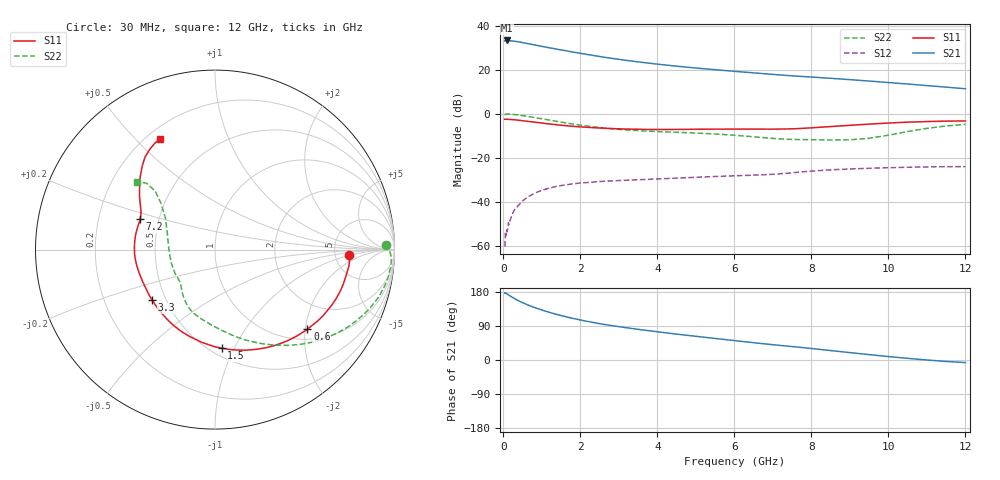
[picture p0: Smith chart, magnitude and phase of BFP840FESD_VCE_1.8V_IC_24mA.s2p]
! Infineon Technologies  Discrete & RF Semiconductors
! BFP840FESD
! VCE =  1.8 V,  IC =  24 mA
! Common Emitter S-Parameters:  May 2012
# GHz  S  MA  R  50
!  f  S11  S21  S12  S22
! GHz  MAG  ANG  MAG  ANG  MAG  ANG  MAG  ANG
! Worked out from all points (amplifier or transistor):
!   103 points, 30 MHz to 12 GHz, reference 50 ohm
!   highest |S21| = 33.2 dB at 80 MHz (marker M1)
!   |S21| within 3 dB of that: start of sweep to 1.094 GHz
!   unconditionally stable (mu >= 1): 5.679 GHz to end of sweep
!   at 400 MHz: K = 0.17, MSG = 36.9 dB, |S12| = -41.3 dB
!   at 3.7 GHz: K = 0.78, MSG = 26.4 dB, |S12| = -29.8 dB
!   at 12 GHz: K = 1.09, MAG = 15.9 dB, |S12| = -24.0 dB
!   S11 on the Smith chart (normalised r, x): 30 MHz: 6.85, -0.94; 600 MHz: 1.24, -2.05; 1.5 GHz: 0.57, -0.89; 3.3 GHz: 0.42, -0.30; 7.2 GHz: 0.39, +0.17; 12 GHz: 0.25, +0.59
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0.03  0.7493 -2.3  45.16 176.5  0.001 84.4  0.9516 1.7
0.04  0.7497 -3.0  45.34 176.0  0.001 89.6  0.962 0.9
0.05  0.7517 -3.6  45.52 176.9  0.0021 104.7  0.9723 0.2
0.08  0.7522 -6.0  45.91 175.0  0.0023 92.8  0.981 -2.1
0.25  0.7353 -18.4  44.53 164.3  0.0058 82.0  0.9678 -11.8
0.35  0.7204 -25.4  43.13 158.5  0.0077 77.6  0.9463 -16.7
0.45  0.706 -31.5  41.85 153.5  0.0095 72.7  0.9207 -21.0
0.6  0.6798 -40.8  39.41 146.6  0.0125 69.4  0.8792 -27.1
0.8  0.6474 -52.1  36.46 138.8  0.0157 63.8  0.8241 -34.4
1  0.6159 -62.7  33.71 131.8  0.0185 59.5  0.7693 -41.0
1.3  0.5738 -77.3  30.1 122.6  0.0219 53.9  0.6931 -50.0
1.5  0.5502 -86.1  27.98 117.3  0.0237 50.6  0.647 -55.5
1.8  0.5215 -98.4  25.09 109.9  0.0258 46.2  0.5871 -63.3
2.1  0.4986 -109.2  22.66 103.4  0.0274 43.1  0.5386 -70.2
2.6  0.4713 -124.3  19.25 94.2  0.0295 39.8  0.4778 -80.1
3.3  0.4492 -141.1  15.79 83.6  0.0316 37.2  0.425 -91.3
4.1  0.441 -156.5  13.06 73.2  0.0337 36.4  0.3925 -101.5
6.1  0.4491 174.6  9.031 50.1  0.0396 36.4  0.3209 -122.6
7.2  0.4504 158.0  7.571 38.3  0.0437 39.3  0.2694 -135.8
8.5  0.5138 144.9  6.375 24.9  0.0537 36.4  0.2551 -164.1
10.5  0.6464 127.1  4.724 4.4  0.0615 28.6  0.3964 139.4
12  0.6884 116.3  3.691 -6.8  0.0634 25.3  0.5756 138.8
